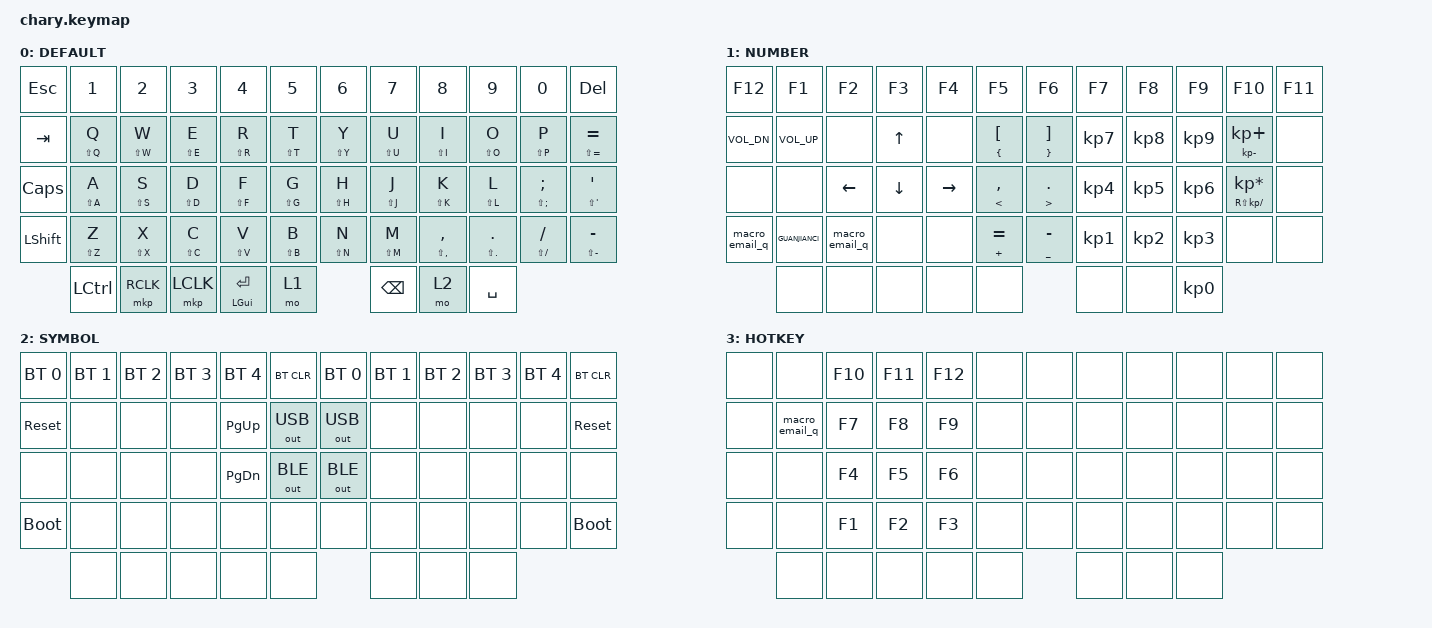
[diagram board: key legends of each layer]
#include <dt-bindings/zmk/mouse.h>
#include <behaviors.dtsi>
#include <dt-bindings/zmk/bt.h>
#include <dt-bindings/zmk/keys.h>
#include <dt-bindings/zmk/outputs.h>

#define DEFAULT 0
#define NUMBER  1
#define SYMBOL  2
#define HOTKEY  3

#define AS(keycode) &as LS(keycode) keycode

&mt {
    tapping-term-ms = <1500>; // This is the value already set by default
};

/ {
    macros {
        macro_email_q: macro_email_q {
            // 714448168@qq.com

            label = "MACRO_EMAIL_QQ";
            compatible = "zmk,behavior-macro";
            #binding-cells = <0>;
            bindings = <&kp N7 &kp N1 &kp N4 &kp N4 &kp N4 &kp N8 &kp N1 &kp N6 &kp N8 &kp AT &kp Q &kp Q &kp DOT &kp C &kp O &kp M>;
        };

        GUANJIANCI: GUANJIANCI {
            compatible = "zmk,behavior-macro";
            label = "new_macro";
            #binding-cells = <0>;
            bindings = <&kp LSHIFT &kp LBKT &kp RBKT &kp LEFT &kp LSHIFT>;
        };
    };

    combos {
        compatible = "zmk,combos";

        lup {
            bindings = <&kp UP>;
            key-positions = <15 16>;
            layers = <0 1>;
            timeout-ms = <50>;
        };

        ldown {
            bindings = <&kp DOWN>;
            key-positions = <39 40>;
            timeout-ms = <50>;
        };

        lleft {
            bindings = <&kp LEFT>;
            key-positions = <26 27>;
            layers = <0 1>;
            timeout-ms = <50>;
        };

        lright {
            bindings = <&kp RIGHT>;
            key-positions = <27 28>;
            layers = <0 1>;
            timeout-ms = <50>;
        };

        rup {
            bindings = <&kp UP>;
            key-positions = <19 20>;
            layers = <0 1>;
            timeout-ms = <50>;
        };

        rdown {
            bindings = <&kp DOWN>;
            key-positions = <43 44>;
            timeout-ms = <50>;
        };

        rleft {
            bindings = <&kp LEFT>;
            key-positions = <31 32>;
            layers = <0 1>;
            timeout-ms = <50>;
        };

        rright {
            bindings = <&kp RIGHT>;
            key-positions = <32 33>;
            layers = <0 1>;
            timeout-ms = <50>;
        };

        CTRLF9 {
            bindings = <&kp LC(F9)>;
            layers = <0 1>;
            key-positions = <49 50>;
        };
    };

    keymap {
        compatible = "zmk,keymap";

        default_layer {
            label = "DEFAULT";
            bindings = <
&kp ESCAPE    &kp N1            &kp N2       &kp N3       &kp N4          &kp N5       &kp N6       &kp N7         &kp N8               &kp N9           &kp N0                  &kp DELETE
&kp TAB       &mt LS(Q) Q       &mt LS(W) W  &mt LS(E) E  &mt LS(R) R     &mt LS(T) T  &mt LS(Y) Y  &mt LS(U) U    &mt LS(I) I          &mt LS(O) O      &mt LS(P) P             &mt LS(EQUAL) EQUAL
&kp CAPSLOCK  &mt LS(A) A       &mt LS(S) S  &mt LS(D) D  &mt LS(F) F     &mt LS(G) G  &mt LS(H) H  &mt LS(J) J    &mt LS(K) K          &mt LS(L) L      &mt LS(SEMI) SEMICOLON  &mt LS(SQT) SQT
&kp LSHFT     &mt LS(Z) Z       &mt LS(X) X  &mt LS(C) C  &mt LS(V) V     &mt LS(B) B  &mt LS(N) N  &mt LS(M) M    &mt LS(COMMA) COMMA  &mt LS(DOT) DOT  &mt LS(FSLH) SLASH      &mt LS(MINUS) MINUS
              &kp LEFT_CONTROL  &mkp RCLK    &mkp LCLK    &mt LGUI ENTER  &mo 1                     &kp BACKSPACE  &mo 2                &kp SPACE
            >;
        };

        number_layer {
            label = "NUMBER";
            bindings = <
&kp F12         &kp F1        &kp F2          &kp F3    &kp F4     &kp F5                       &kp F6                         &kp F7     &kp F8     &kp F9     &kp F10                        &kp F11
&kp C_VOL_DN    &kp C_VOL_UP  &none           &kp UP    &none      &mt LEFT_BRACE LEFT_BRACKET  &mt RIGHT_BRACE RIGHT_BRACKET  &kp KP_N7  &kp KP_N8  &kp KP_N9  &mt KP_SUBTRACT KP_PLUS        &none
&none           &none         &kp LEFT        &kp DOWN  &kp RIGHT  &mt LESS_THAN COMMA          &mt GREATER_THAN PERIOD        &kp KP_N4  &kp KP_N5  &kp KP_N6  &mt RS(KP_DIVIDE) KP_MULTIPLY  &none
&macro_email_q  &GUANJIANCI   &macro_email_q  &none     &none      &mt PLUS EQUAL               &mt UNDERSCORE MINUS           &kp KP_N1  &kp KP_N2  &kp KP_N3  &none                          &none
                &none         &none           &none     &none      &none                                                       &none      &none      &kp KP_N0
            >;
        };

        symbol_layer {
            label = "SYMBOL";
            bindings = <
&bt BT_SEL 0  &bt BT_SEL 1  &bt BT_SEL 2  &bt BT_SEL 3  &bt BT_SEL 4   &bt BT_CLR    &bt BT_SEL 0  &bt BT_SEL 1  &bt BT_SEL 2  &bt BT_SEL 3  &bt BT_SEL 4  &bt BT_CLR
&sys_reset    &none         &none         &none         &kp PAGE_UP    &out OUT_USB  &out OUT_USB  &none         &none         &none         &none         &sys_reset
&none         &none         &none         &none         &kp PAGE_DOWN  &out OUT_BLE  &out OUT_BLE  &none         &none         &none         &none         &none
&bootloader   &none         &none         &none         &none          &none         &none         &none         &none         &none         &none         &bootloader
              &none         &none         &none         &none          &none                       &none         &none         &none
            >;
        };

        hotkey_layer {
            label = "HOTKEY";
            bindings = <
&none  &none           &kp F10  &kp F11  &kp F12  &none  &none  &none  &none  &none  &none  &none
&none  &macro_email_q  &kp F7   &kp F8   &kp F9   &none  &none  &none  &none  &none  &none  &none
&none  &none           &kp F4   &kp F5   &kp F6   &none  &none  &none  &none  &none  &none  &none
&none  &none           &kp F1   &kp F2   &kp F3   &none  &none  &none  &none  &none  &none  &none
       &none           &none    &none    &none    &none         &none  &none  &none
            >;
        };
    };
};
